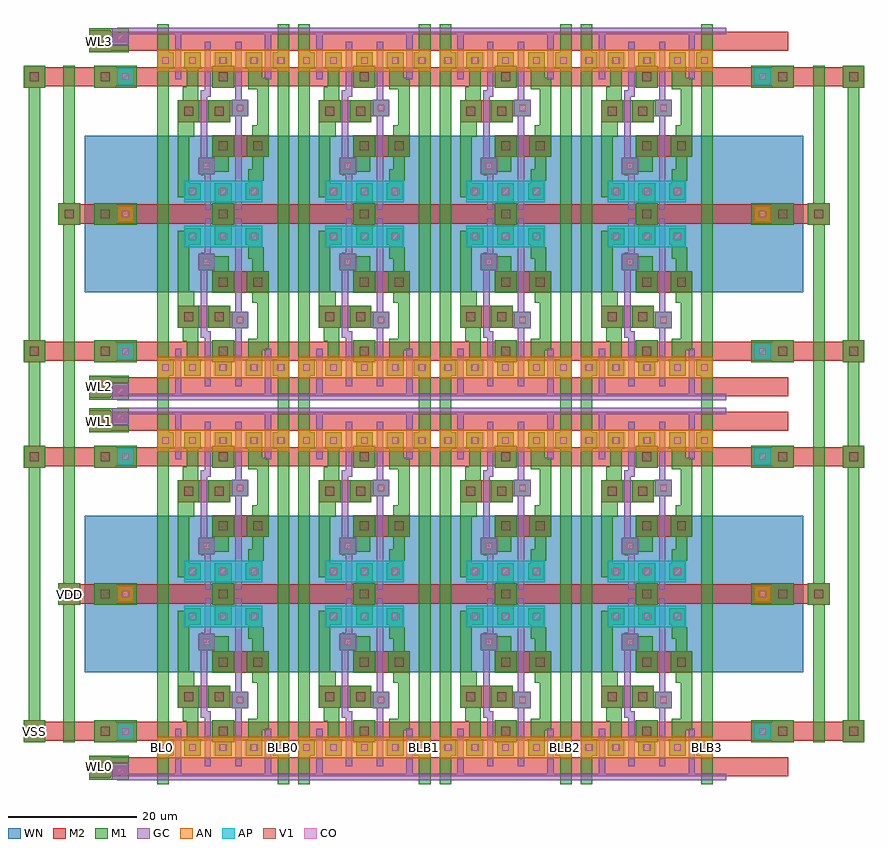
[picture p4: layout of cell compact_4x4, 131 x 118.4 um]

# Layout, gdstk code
import gdstk
lib = gdstk.Library(unit=1e-6, precision=1e-07)
def R(c, l, rs):  # rectangles x0, y0, x1, y1
    for r in rs: c.add(gdstk.rectangle(r[:2], r[2:], *l))
def A(c, l, x, y, w, h, nx, ny, dx, dy):  # array of equal rectangles
    R(c, l, [(x+i*dx, y+j*dy, x+i*dx+w, y+j*dy+h) for i in range(nx) for j in range(ny)])
def P(c, l, *ps):  # polygons
    for p in ps: c.add(gdstk.Polygon(p, *l))
AP = (3, 1)
AN = (3, 2)
GC = (8, 1)
CO = (11, 0)
M1 = (13, 0)
V1 = (19, 0)
M2 = (20, 0)
WN = (140, 0)

compact_core = lib.new_cell('compact_core')
R(compact_core, AP, [(3.5,18.7,15.7,22.1)])
R(compact_core, AN, [(-0.7,-1.7,19.9,1.7)])
R(compact_core, GC, [(0,-5.1,22,-4.1), (2.1,-5.1,3.1,2.9), (16.1,-5.1,17.1,2.9), (6.7,-2.9,7.7,5.6), (11.5,-2.9,12.5,23.3), (6.1,4.6,7.7,5.6), (6.1,4.6,7.1,17.9), (10.9,6.1,13.5,8.7), (11.5,6.9,12.7,7.9), (5.7,15.1,8.3,17.7), (6.1,15.9,7.5,16.9), (6.1,16.9,7.7,17.9), (6.7,16.9,7.7,23.3)])
A(compact_core, CO, 4.3, -0.5, 1, 1, 3, 2, 4.8, 20.4)
R(compact_core, CO, [(0.1,-0.5,1.1,0.5), (18.1,-0.5,19.1,0.5), (11.7,6.9,12.7,7.9), (6.5,15.9,7.5,16.9)])
P(compact_core, M1, [(8.3,-1.3),(8.3,0.8),(7.9,0.8),(7.9,4.2),(11.3,4.2),(11.3,0.8),(10.9,0.8),(10.9,-1.3)],
  [(10.9,6.1),(10.9,6.2),(7.3,6.2),(7.3,9.6),(10.7,9.6),(10.7,8.7),(13.5,8.7),(13.5,6.1)],
  [(7.9,11.6),(7.9,15.1),(5.7,15.1),(5.7,17.7),(8.3,17.7),(8.3,17.3),(10.5,17.3),(10.5,15),(11.3,15),(11.3,11.6)],
  [(3.5,-1.3),(3.5,1.3),(3.9,1.3),(3.9,4.1),(3.3,4.1),(3.3,6.2),(2.5,6.2),(2.5,21.3),(3.5,21.3),(3.5,21.7),(6.1,21.7),(6.1,19.1),(4.3,19.1),(4.3,11.9),(5.1,11.9),(5.1,9.6),(5.9,9.6),(5.9,6.2),(5.7,6.2),(5.7,1.3),(6.1,1.3),(6.1,-1.3)],
  [(13.1,-1.3),(13.1,1.3),(13.5,1.3),(13.5,4.5),(14.9,4.5),(14.9,10.1),(14.1,10.1),(14.1,11.6),(13.3,11.6),(13.3,15),(14.1,15),(14.1,16.9),(13.5,16.9),(13.5,19.1),(13.1,19.1),(13.1,21.7),(15.7,21.7),(15.7,18.7),(15.9,18.7),(15.9,15),(16.7,15),(16.7,2.7),(15.7,2.7),(15.7,-1.3)],
  [(-0.7,-5.7),(-0.7,23.9),(1.1,23.9),(1.1,1.3),(1.9,1.3),(1.9,-1.3),(1.1,-1.3),(1.1,-5.7)],
  [(18.1,-5.7),(18.1,-1.3),(17.3,-1.3),(17.3,1.3),(18.1,1.3),(18.1,23.9),(19.9,23.9),(19.9,-5.7)],
  [(8.3,19.1),(8.3,22.2),(7.9,22.2),(7.9,25.6),(11.3,25.6),(11.3,22.2),(10.9,22.2),(10.9,19.1)])
R(compact_core, V1, [(8.9,1.8,10.3,3.2), (3.5,7.2,4.9,8.6), (8.3,7.2,9.7,8.6), (8.9,12.6,10.3,14), (14.3,12.6,15.7,14), (8.9,23.2,10.3,24.6)])
R(compact_core, M2, [(0,-4.5,22,-1.5), (7.9,0.8,11.3,4.2), (0,1,22,4), (2.5,6.2,5.9,9.6), (2.5,6.2,10.7,9.6), (7.3,6.2,10.7,9.6), (7.9,11.6,11.3,15), (7.9,11.6,16.7,15), (13.3,11.6,16.7,15), (7.9,22.2,11.3,25.6), (0,22.4,22,25.4)])
R(compact_core, WN, [(-3.5,11.7,25.5,29.1)])

compact_4x4 = lib.new_cell('compact_4x4')
R(compact_4x4, AP, [(-6.9,6.9,-4.3,9.5), (92.3,6.9,94.9,9.5), (-6.9,49.7,-4.3,52.3), (92.3,49.7,94.9,52.3), (-6.9,66.1,-4.3,68.7), (92.3,66.1,94.9,68.7), (-6.9,108.9,-4.3,111.5), (92.3,108.9,94.9,111.5)])
R(compact_4x4, AN, [(-6.9,28.3,-4.3,30.9), (92.3,28.3,94.9,30.9), (-6.9,87.5,-4.3,90.1), (92.3,87.5,94.9,90.1)])
R(compact_4x4, GC, [(-6.9,0.6,-5.9,2.5), (-6.4,0.6,0,1.6), (-7.7,0.7,-5.1,3.3), (-7.7,55.9,-5.1,58.5), (-6.9,56.7,-5.9,58.6), (-6.4,57.6,0,58.6), (-6.9,59.8,-5.9,61.7), (-6.4,59.8,0,60.8), (-7.7,59.9,-5.1,62.5), (-7.7,115.1,-5.1,117.7), (-6.9,115.9,-5.9,117.8), (-6.4,116.8,0,117.8)])
A(compact_4x4, CO, -6.1, 7.7, 1, 1, 1, 3, 0, 21.4)
A(compact_4x4, CO, 93.1, 7.7, 1, 1, 1, 3, 0, 21.4)
A(compact_4x4, CO, -6.1, 66.9, 1, 1, 1, 3, 0, 21.4)
A(compact_4x4, CO, 93.1, 66.9, 1, 1, 1, 3, 0, 21.4)
R(compact_4x4, CO, [(-6.9,1.5,-5.9,2.5), (-6.9,56.7,-5.9,57.7), (-6.9,60.7,-5.9,61.7), (-6.9,115.9,-5.9,116.9)])
A(compact_4x4, M1, -10.5, 6.5, 3.4, 3.4, 1, 3, 0, 21.4)
A(compact_4x4, M1, -10.5, 6.5, 6.6, 3.4, 1, 3, 0, 21.4)
A(compact_4x4, M1, 91.9, 6.5, 6.6, 3.4, 1, 3, 0, 21.4)
A(compact_4x4, M1, 95.1, 6.5, 3.4, 3.4, 1, 3, 0, 21.4)
A(compact_4x4, M1, -6.9, 6.9, 2.6, 2.6, 1, 3, 0, 21.4)
A(compact_4x4, M1, 92.3, 6.9, 2.6, 2.6, 1, 3, 0, 21.4)
A(compact_4x4, M1, -10.5, 65.7, 3.4, 3.4, 1, 3, 0, 21.4)
A(compact_4x4, M1, -10.5, 65.7, 6.6, 3.4, 1, 3, 0, 21.4)
A(compact_4x4, M1, 91.9, 65.7, 6.6, 3.4, 1, 3, 0, 21.4)
A(compact_4x4, M1, 95.1, 65.7, 3.4, 3.4, 1, 3, 0, 21.4)
A(compact_4x4, M1, -6.9, 66.1, 2.6, 2.6, 1, 3, 0, 21.4)
A(compact_4x4, M1, 92.3, 66.1, 2.6, 2.6, 1, 3, 0, 21.4)
R(compact_4x4, M1, [(-11.3,0.7,-5.1,4.4), (-7.7,0.7,-5.1,3.3), (-11.3,1,-7.9,4.4), (-21.5,6.5,-18.1,9.9), (-20.7,6.5,-18.9,111.9), (-15.3,6.5,-13.5,111.9), (101.5,6.5,103.3,111.9), (106.1,6.5,109.5,9.9), (106.9,6.5,108.7,111.9), (-16.1,27.9,-12.7,31.3), (100.7,27.9,104.1,31.3), (-21.5,49.3,-18.1,52.7), (106.1,49.3,109.5,52.7), (-11.3,54.8,-7.9,58.2), (-11.3,54.8,-5.1,58.5), (-7.7,55.9,-5.1,58.5), (-11.3,59.9,-5.1,63.6), (-7.7,59.9,-5.1,62.5), (-11.3,60.2,-7.9,63.6), (-21.5,65.7,-18.1,69.1), (106.1,65.7,109.5,69.1), (-16.1,87.1,-12.7,90.5), (100.7,87.1,104.1,90.5), (-21.5,108.5,-18.1,111.9), (106.1,108.5,109.5,111.9), (-11.3,114,-7.9,117.4), (-11.3,114,-5.1,117.7), (-7.7,115.1,-5.1,117.7)])
A(compact_4x4, V1, -9.5, 7.5, 1.4, 1.4, 1, 3, 0, 21.4)
A(compact_4x4, V1, 96.1, 7.5, 1.4, 1.4, 1, 3, 0, 21.4)
A(compact_4x4, V1, -9.5, 66.7, 1.4, 1.4, 1, 3, 0, 21.4)
A(compact_4x4, V1, 96.1, 66.7, 1.4, 1.4, 1, 3, 0, 21.4)
R(compact_4x4, V1, [(-10.3,2,-8.9,3.4), (-20.5,7.5,-19.1,8.9), (107.1,7.5,108.5,8.9), (-15.1,28.9,-13.7,30.3), (101.7,28.9,103.1,30.3), (-20.5,50.3,-19.1,51.7), (107.1,50.3,108.5,51.7), (-10.3,55.8,-8.9,57.2), (-10.3,61.2,-8.9,62.6), (-20.5,66.7,-19.1,68.1), (107.1,66.7,108.5,68.1), (-15.1,88.1,-13.7,89.5), (101.7,88.1,103.1,89.5), (-20.5,109.5,-19.1,110.9), (107.1,109.5,108.5,110.9), (-10.3,115,-8.9,116.4)])
A(compact_4x4, M2, -10.5, 6.5, 3.4, 3.4, 1, 3, 0, 21.4)
A(compact_4x4, M2, 95.1, 6.5, 3.4, 3.4, 1, 3, 0, 21.4)
A(compact_4x4, M2, -10.5, 65.7, 3.4, 3.4, 1, 3, 0, 21.4)
A(compact_4x4, M2, 95.1, 65.7, 3.4, 3.4, 1, 3, 0, 21.4)
R(compact_4x4, M2, [(-11.3,1,-7.9,4.4), (-9.6,1.2,97.6,4.2), (-21.5,6.5,-18.1,9.9), (106.1,6.5,109.5,9.9), (-21.5,6.7,89.7,9.7), (-1.7,6.7,109.5,9.7), (-16.1,27.9,-12.7,31.3), (100.7,27.9,104.1,31.3), (-16.1,28.1,89.7,31.1), (-1.7,28.1,104.1,31.1), (-21.5,49.3,-18.1,52.7), (106.1,49.3,109.5,52.7), (-21.5,49.5,89.7,52.5), (-1.7,49.5,109.5,52.5), (-11.3,54.8,-7.9,58.2), (-9.6,55,97.6,58), (-11.3,60.2,-7.9,63.6), (-9.6,60.4,97.6,63.4), (-21.5,65.7,-18.1,69.1), (106.1,65.7,109.5,69.1), (-21.5,65.9,89.7,68.9), (-1.7,65.9,109.5,68.9), (-16.1,87.1,-12.7,90.5), (100.7,87.1,104.1,90.5), (-16.1,87.3,89.7,90.3), (-1.7,87.3,104.1,90.3), (-21.5,108.5,-18.1,111.9), (106.1,108.5,109.5,111.9), (-21.5,108.7,89.7,111.7), (-1.7,108.7,109.5,111.7), (-11.3,114,-7.9,117.4), (-9.6,114.2,97.6,117.2)])
R(compact_4x4, WN, [(-12,17.4,100,41.8), (0,17.4,100,41.8), (-12,76.6,100,101), (0,76.6,100,101)])
compact_4x4.add(gdstk.Reference(compact_core, (0,5.7)))
compact_4x4.add(gdstk.Reference(compact_core, (22,5.7)))
compact_4x4.add(gdstk.Reference(compact_core, (44,5.7)))
compact_4x4.add(gdstk.Reference(compact_core, (66,5.7)))
compact_4x4.add(gdstk.Reference(compact_core, (0,53.5), x_reflection=True))
compact_4x4.add(gdstk.Reference(compact_core, (22,53.5), x_reflection=True))
compact_4x4.add(gdstk.Reference(compact_core, (44,53.5), x_reflection=True))
compact_4x4.add(gdstk.Reference(compact_core, (66,53.5), x_reflection=True))
compact_4x4.add(gdstk.Reference(compact_core, (0,64.9)))
compact_4x4.add(gdstk.Reference(compact_core, (22,64.9)))
compact_4x4.add(gdstk.Reference(compact_core, (44,64.9)))
compact_4x4.add(gdstk.Reference(compact_core, (66,64.9)))
compact_4x4.add(gdstk.Reference(compact_core, (0,112.7), x_reflection=True))
compact_4x4.add(gdstk.Reference(compact_core, (22,112.7), x_reflection=True))
compact_4x4.add(gdstk.Reference(compact_core, (44,112.7), x_reflection=True))
compact_4x4.add(gdstk.Reference(compact_core, (66,112.7), x_reflection=True))
compact_4x4.add(gdstk.Label('WL0', (-9.6,2.7), layer=49, texttype=0))
compact_4x4.add(gdstk.Label('WL1', (-9.6,56.5), layer=49, texttype=0))
compact_4x4.add(gdstk.Label('WL2', (-9.6,61.9), layer=49, texttype=0))
compact_4x4.add(gdstk.Label('WL3', (-9.6,115.7), layer=49, texttype=0))
compact_4x4.add(gdstk.Label('VDD', (-14.4,29.6), layer=48, texttype=0))
compact_4x4.add(gdstk.Label('VSS', (-19.8,8.2), layer=48, texttype=0))
compact_4x4.add(gdstk.Label('BL0', (0.2,5.7), layer=48, texttype=0))
compact_4x4.add(gdstk.Label('BLB0', (19,5.7), layer=48, texttype=0))
compact_4x4.add(gdstk.Label('BL1', (22.2,5.7), layer=48, texttype=0))
compact_4x4.add(gdstk.Label('BLB1', (41,5.7), layer=48, texttype=0))
compact_4x4.add(gdstk.Label('BL2', (44.2,5.7), layer=48, texttype=0))
compact_4x4.add(gdstk.Label('BLB2', (63,5.7), layer=48, texttype=0))
compact_4x4.add(gdstk.Label('BL3', (66.2,5.7), layer=48, texttype=0))
compact_4x4.add(gdstk.Label('BLB3', (85,5.7), layer=48, texttype=0))

lib.write_gds('compact_4x4.gds')
